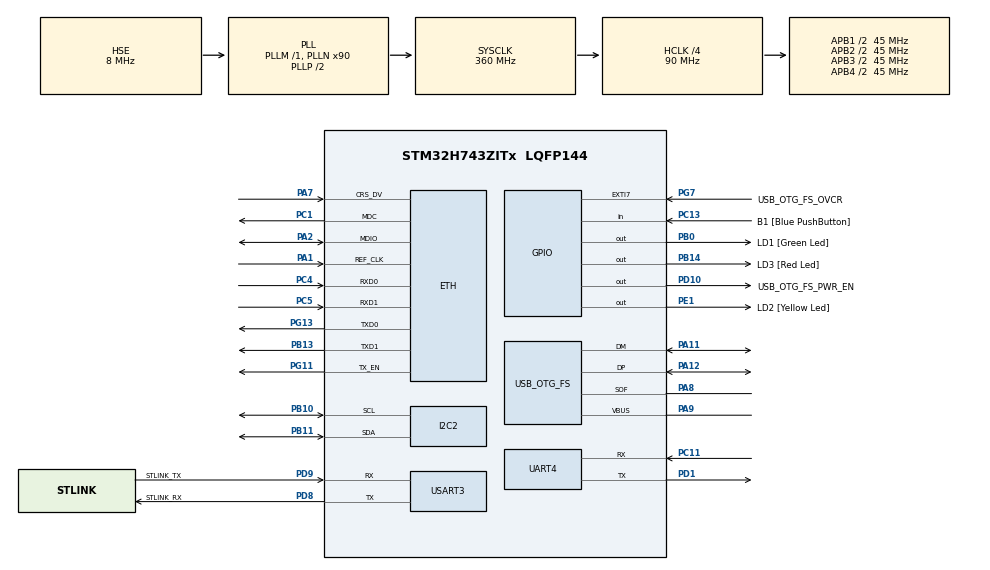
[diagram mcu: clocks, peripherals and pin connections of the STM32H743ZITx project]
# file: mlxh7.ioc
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ETH.MediaInterface=HAL_ETH_RMII_MODE
I2C2.Timing=0xC0000E12
Mcu.Family=STM32H7
Mcu.Name=STM32H743ZITx
Mcu.Package=LQFP144
NVIC.PriorityGroup=NVIC_PRIORITYGROUP_4
PA1.Mode=RMII
PA1.Signal=ETH_REF_CLK
PA11.Mode=Device_Only
PA11.Signal=USB_OTG_FS_DM
PA12.Mode=Device_Only
PA12.Signal=USB_OTG_FS_DP
PA2.Mode=RMII
PA2.Signal=ETH_MDIO
PA7.Mode=RMII
PA7.Signal=ETH_CRS_DV
PA8.Mode=Activate_SOF_FS
PA8.Signal=USB_OTG_FS_SOF
PA9.Mode=Activate_VBUS
PA9.Signal=USB_OTG_FS_VBUS
PB0.GPIO_Label=LD1 [Green Led]
PB0.Signal=GPIO_Output
PB10.Mode=I2C
PB10.Signal=I2C2_SCL
PB11.Mode=I2C
PB11.Signal=I2C2_SDA
PB13.Mode=RMII
PB13.Signal=ETH_TXD1
PB14.GPIO_Label=LD3 [Red Led]
PB14.Signal=GPIO_Output
PC1.Mode=RMII
PC1.Signal=ETH_MDC
PC11.Mode=Asynchronous
PC11.Signal=UART4_RX
PC13.GPIO_Label=B1 [Blue PushButton]
PC13.Signal=GPIO_Input
PC14-OSC32_IN\ (OSC32_IN).Mode=LSE-External-Oscillator
PC14-OSC32_IN\ (OSC32_IN).Signal=RCC_OSC32_IN
PC15-OSC32_OUT\ (OSC32_OUT).Mode=LSE-External-Oscillator
PC15-OSC32_OUT\ (OSC32_OUT).Signal=RCC_OSC32_OUT
PC4.Mode=RMII
PC4.Signal=ETH_RXD0
PC5.Mode=RMII
PC5.Signal=ETH_RXD1
PD1.Mode=Asynchronous
PD1.Signal=UART4_TX
PD10.GPIO_Label=USB_OTG_FS_PWR_EN
PD10.Signal=GPIO_Output
PD8.GPIO_Label=STLINK_RX
PD8.Mode=Asynchronous
PD8.Signal=USART3_TX
PD9.GPIO_Label=STLINK_TX
PD9.Mode=Asynchronous
PD9.Signal=USART3_RX
PE1.GPIO_Label=LD2 [Yellow Led]
PE1.Signal=GPIO_Output
PG11.Mode=RMII
PG11.Signal=ETH_TX_EN
PG13.Mode=RMII
PG13.Signal=ETH_TXD0
PG7.GPIO_Label=USB_OTG_FS_OVCR
PG7.Signal=GPXTI7
PH0-OSC_IN\ (PH0).Mode=HSE-External-Clock-Source
PH0-OSC_IN\ (PH0).Signal=RCC_OSC_IN
PH1-OSC_OUT\ (PH1).Signal=RCC_OSC_OUT
ProjectManager.HeapSize=0x200
ProjectManager.StackSize=0x400
ProjectManager.TargetToolchain=STM32CubeIDE
RCC.ADCFreq_Value=16125000
RCC.APB1Freq_Value=45000000
RCC.APB2Freq_Value=45000000
RCC.APB3Freq_Value=45000000
RCC.APB4Freq_Value=45000000
RCC.CortexFreq_Value=180000000
RCC.D1CPRE=RCC_SYSCLK_DIV2
RCC.D1PPRE=RCC_APB3_DIV2
RCC.D2PPRE1=RCC_APB1_DIV2
RCC.D2PPRE2=RCC_APB2_DIV2
RCC.D3PPRE=RCC_APB4_DIV2
RCC.DIVM1=1
RCC.DIVN1=90
RCC.DIVQ1=15
RCC.HCLKFreq_Value=90000000
RCC.HPRE=RCC_HCLK_DIV2
RCC.HSE_VALUE=8000000
RCC.PLL2FRACN=0
RCC.PLL3FRACN=0
RCC.PLLFRACN=0
RCC.SYSCLKFreq_VALUE=360000000
RCC.SYSCLKSource=RCC_SYSCLKSOURCE_PLLCLK
RCC.USBFreq_Value=48000000
USART3.VirtualMode-Asynchronous=VM_ASYNC
USB_OTG_FS.VirtualMode=Device_Only
board=NUCLEO-H743ZI2

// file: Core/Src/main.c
/* USER CODE BEGIN Header */
/**
  ******************************************************************************
  * @file           : main.c
  * @brief          : Main program body
  ******************************************************************************
  * @attention
  *
  * <h2><center>&copy; Copyright (c) 2021 STMicroelectronics.
  * All rights reserved.</center></h2>
  *
  * This software component is licensed by ST under BSD 3-Clause license,
  * the "License"; You may not use this file except in compliance with the
  * License. You may obtain a copy of the License at:
  *                        opensource.org/licenses/BSD-3-Clause
  *
  ******************************************************************************
  */
/* USER CODE END Header */
#include "main.h"
#include "eth.h"
#include "i2c.h"
#include "usart.h"
#include "usb_otg.h"
#include "gpio.h"

/* USER CODE BEGIN Includes */
#include <stdarg.h>
#include "MLX90621_BG.h"

/* USER CODE END Includes */

void SystemClock_Config(void);
/* USER CODE BEGIN PFP */
void UART_print(char* format, ...){

	char buffer[100];
	uint8_t size = 0;
	buffer[0] = '\0';

	va_list argList;

	va_start(argList, format);
	size = vsprintf(buffer, format, argList);

	HAL_StatusTypeDef status =  HAL_UART_Transmit(&huart4, (uint8_t *)buffer, size, 10);

	va_end(argList);

}

/* USER CODE END PFP */

int main(void)
{

  /* MCU Configuration--------------------------------------------------------*/

  /* Reset of all peripherals, Initializes the Flash interface and the Systick. */
  HAL_Init();

  /* Configure the system clock */
  SystemClock_Config();

  /* Initialize all configured peripherals */
  MX_GPIO_Init();
  MX_ETH_Init();
  MX_USART3_UART_Init();
  MX_USB_OTG_FS_PCD_Init();
  MX_UART4_Init();
  MX_I2C2_Init();

  /* Infinite loop */
  /* USER CODE BEGIN WHILE */
  HAL_Delay(5);
  //MLX_config();
  MLX * mlx = MLX_Init(&hi2c2); //Lê a EEPROM e configura / read eeprom, set configuration and trimming value

  while (1)
  {
    /* USER CODE END WHILE */

    /* USER CODE BEGIN 3 */
	  uint8_t k = 0;
	  int16_t IR[64] = {0};

	  HAL_Delay(50);
	  HAL_GPIO_TogglePin(LD2_GPIO_Port, LD2_Pin);

	  if(MLX_Read_IT(mlx) == HAL_OK) {
		  HAL_GPIO_TogglePin(LD1_GPIO_Port, LD1_Pin);

		  for(uint8_t i = 0; i < 4; i++) {
			  for(uint8_t j = 0; j < 16; j++) {
				  double t0 = MLX_CalcTemp(mlx, i, j);
				  IR[k] = t0;
				  UART_print("%d ", IR[k]);
				  if((k+1)%16 == 0) UART_print("\n");
				  k++;
			  }
		  }
	  }
	  UART_print("\n");

  }
  /* USER CODE END 3 */
}

void SystemClock_Config(void)
{
  RCC_OscInitTypeDef RCC_OscInitStruct = {0};
  RCC_ClkInitTypeDef RCC_ClkInitStruct = {0};
  RCC_PeriphCLKInitTypeDef PeriphClkInitStruct = {0};

  /** Supply configuration update enable
  */
  HAL_PWREx_ConfigSupply(PWR_LDO_SUPPLY);
  /** Configure the main internal regulator output voltage
  */
  __HAL_PWR_VOLTAGESCALING_CONFIG(PWR_REGULATOR_VOLTAGE_SCALE3);

  while(!__HAL_PWR_GET_FLAG(PWR_FLAG_VOSRDY)) {}
  /** Initializes the RCC Oscillators according to the specified parameters
  * in the RCC_OscInitTypeDef structure.
  */
  RCC_OscInitStruct.OscillatorType = RCC_OSCILLATORTYPE_HSE;
  RCC_OscInitStruct.HSEState = RCC_HSE_BYPASS;
  RCC_OscInitStruct.PLL.PLLState = RCC_PLL_ON;
  RCC_OscInitStruct.PLL.PLLSource = RCC_PLLSOURCE_HSE;
  RCC_OscInitStruct.PLL.PLLM = 1;
  RCC_OscInitStruct.PLL.PLLN = 90;
  RCC_OscInitStruct.PLL.PLLP = 2;
  RCC_OscInitStruct.PLL.PLLQ = 15;
  RCC_OscInitStruct.PLL.PLLR = 2;
  RCC_OscInitStruct.PLL.PLLRGE = RCC_PLL1VCIRANGE_3;
  RCC_OscInitStruct.PLL.PLLVCOSEL = RCC_PLL1VCOWIDE;
  RCC_OscInitStruct.PLL.PLLFRACN = 0;
  if (HAL_RCC_OscConfig(&RCC_OscInitStruct) != HAL_OK)
  {
    Error_Handler();
  }
  /** Initializes the CPU, AHB and APB buses clocks
  */
  RCC_ClkInitStruct.ClockType = RCC_CLOCKTYPE_HCLK|RCC_CLOCKTYPE_SYSCLK
                              |RCC_CLOCKTYPE_PCLK1|RCC_CLOCKTYPE_PCLK2
                              |RCC_CLOCKTYPE_D3PCLK1|RCC_CLOCKTYPE_D1PCLK1;
  RCC_ClkInitStruct.SYSCLKSource = RCC_SYSCLKSOURCE_PLLCLK;
  RCC_ClkInitStruct.SYSCLKDivider = RCC_SYSCLK_DIV2;
  RCC_ClkInitStruct.AHBCLKDivider = RCC_HCLK_DIV2;
  RCC_ClkInitStruct.APB3CLKDivider = RCC_APB3_DIV2;
  RCC_ClkInitStruct.APB1CLKDivider = RCC_APB1_DIV2;
  RCC_ClkInitStruct.APB2CLKDivider = RCC_APB2_DIV2;
  RCC_ClkInitStruct.APB4CLKDivider = RCC_APB4_DIV2;

  if (HAL_RCC_ClockConfig(&RCC_ClkInitStruct, FLASH_LATENCY_1) != HAL_OK)
  {
    Error_Handler();
  }
  PeriphClkInitStruct.PeriphClockSelection = RCC_PERIPHCLK_USART3|RCC_PERIPHCLK_UART4
                              |RCC_PERIPHCLK_I2C2|RCC_PERIPHCLK_USB;
  PeriphClkInitStruct.Usart234578ClockSelection = RCC_USART234578CLKSOURCE_D2PCLK1;
  PeriphClkInitStruct.I2c123ClockSelection = RCC_I2C123CLKSOURCE_D2PCLK1;
  PeriphClkInitStruct.UsbClockSelection = RCC_USBCLKSOURCE_PLL;
  if (HAL_RCCEx_PeriphCLKConfig(&PeriphClkInitStruct) != HAL_OK)
  {
    Error_Handler();
  }
  /** Enable USB Voltage detector
  */
  HAL_PWREx_EnableUSBVoltageDetector();
}

void Error_Handler(void)
{
  __disable_irq();
  while (1)
  {
  }
}

/************************ (C) COPYRIGHT STMicroelectronics *****END OF FILE****/
